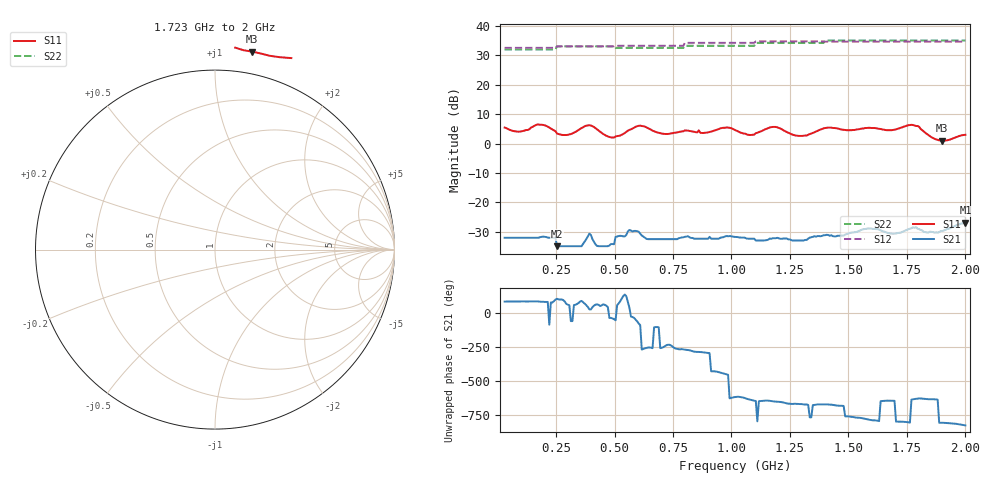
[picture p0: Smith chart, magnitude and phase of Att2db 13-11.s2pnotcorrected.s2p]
# Hz S DB R 50.000000
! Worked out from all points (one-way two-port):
!   300 points, 30 MHz to 2 GHz, reference 50 ohm
!   highest |S21| = -26.89 dB at 2 GHz (marker M1); lowest = -34.9 dB at 254 MHz (marker M2)
!   lowest |S11| = 1.0 dB at 1.901 GHz (marker M3)
!   |S11| at or under -10 dB: nowhere
!   |S22| runs from 31.9 to 35.0 dB; largest |S21 - S12| = 54
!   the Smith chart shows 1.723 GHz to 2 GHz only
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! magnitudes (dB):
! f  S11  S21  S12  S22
! 30 MHz  5.4  -32.0  32.5  31.9
! 89.3 MHz  4.0  -32.0  32.5  31.9
! 188.1 MHz  6.4  -31.7  32.5  31.9
! 247.4 MHz  4.2  -32.0  32.5  31.9
! 254 MHz  3.4  -34.9  33.0  33.0
! 359.4 MHz  5.3  -34.9  33.0  33.0
! 392.4 MHz  6.2  -30.6  33.0  33.0
! 425.3 MHz  4.8  -34.8  33.0  33.0
! 471.4 MHz  2.4  -34.9  33.0  33.0
! 563.7 MHz  4.6  -29.4  33.2  32.5
! 609.8 MHz  6.1  -30.6  33.2  32.5
! 688.9 MHz  3.6  -32.5  33.2  32.5
! 1.018 GHz  4.5  -31.7  34.2  33.2
! 1.084 GHz  2.9  -32.3  34.2  33.2
! 1.19 GHz  5.6  -32.2  34.7  34.2
! 1.275 GHz  2.7  -32.9  34.7  34.2
! 1.348 GHz  3.6  -31.7  34.7  34.2
! 1.585 GHz  5.3  -28.8  34.6  35.0
! 1.677 GHz  4.5  -30.5  34.6  35.0
! 1.776 GHz  6.3  -28.5  34.6  35.0
! 1.901 GHz  1.0  -29.7  34.6  35.0
! 2 GHz  3.0  -26.9  34.6  35.0
